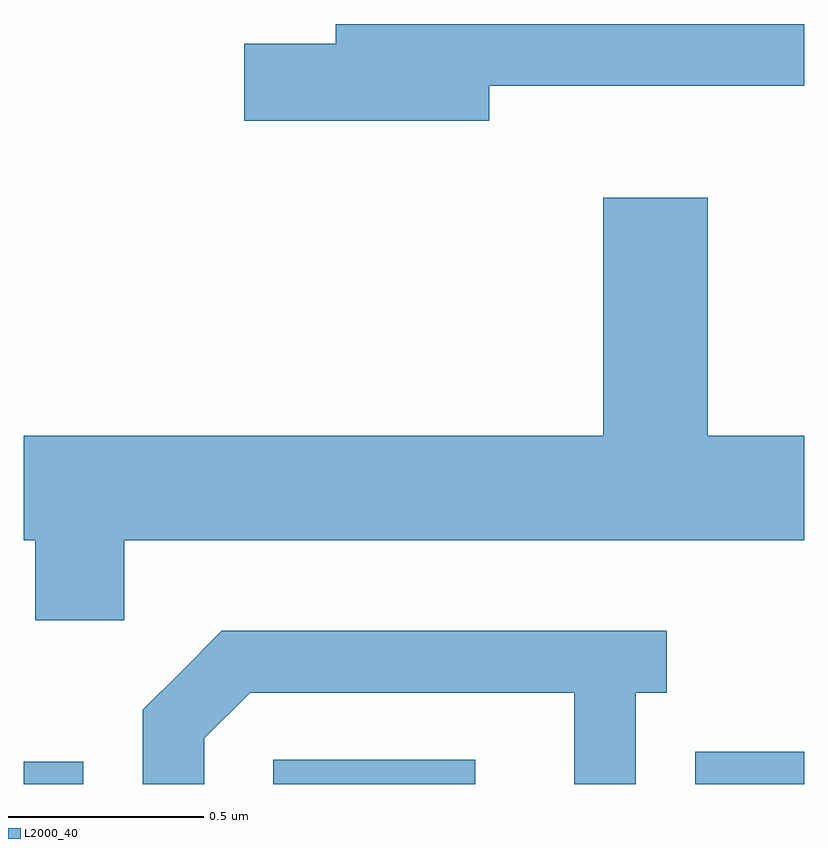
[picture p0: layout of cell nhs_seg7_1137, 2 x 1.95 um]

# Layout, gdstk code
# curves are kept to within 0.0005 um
import gdstk
lib = gdstk.Library(unit=1e-6, precision=1e-09)
def R(c, l, rs):  # rectangles x0, y0, x1, y1
    for r in rs: c.add(gdstk.rectangle(r[:2], r[2:], *l))
def P(c, l, *ps):  # polygons
    for p in ps: c.add(gdstk.Polygon(p, *l))
L2000_40 = (2000, 40)

nhs_seg7_1137 = lib.new_cell('nhs_seg7_1137')
R(nhs_seg7_1137, L2000_40, [(193.611,1709.252,193.764,1709.309), (194.251,1709.252,194.768,1709.314), (195.331,1709.252,195.611,1709.334)])
P(nhs_seg7_1137, L2000_40, [(194.804,1711.041),(195.611,1711.041),(195.611,1711.199),(194.411,1711.199),(194.411,1711.149),(194.176,1711.149),(194.176,1710.951),(194.804,1710.951)],
  [(193.869,1709.876),(195.611,1709.876),(195.611,1710.144),(195.364,1710.144),(195.364,1710.754),(195.096,1710.754),(195.096,1710.144),(193.611,1710.144),(193.611,1709.876),(193.641,1709.876),(193.641,1709.671),(193.869,1709.671)],
  [(194.074,1709.369),(194.192,1709.486),(195.021,1709.486),(195.021,1709.252),(195.179,1709.252),(195.179,1709.486),(195.258,1709.486),(195.258,1709.644),(194.119,1709.644),(193.916,1709.442),(193.916,1709.252),(194.074,1709.252)])

lib.write_gds('nhs_seg7_1137.gds')
